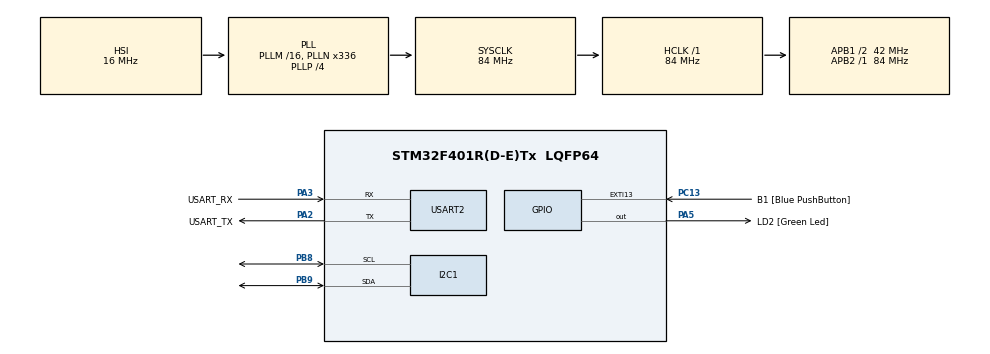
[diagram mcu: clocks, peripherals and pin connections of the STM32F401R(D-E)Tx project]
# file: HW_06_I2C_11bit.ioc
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Mcu.Family=STM32F4
Mcu.Name=STM32F401R(D-E)Tx
Mcu.Package=LQFP64
NVIC.PriorityGroup=NVIC_PRIORITYGROUP_0
NVIC.TIM2_IRQn=true\:0\:0\:false\:false\:true\:true\:true\:true
PA13.GPIO_Label=TMS
PA13.Mode=Serial_Wire
PA13.Signal=SYS_JTMS-SWDIO
PA14.GPIO_Label=TCK
PA14.Mode=Serial_Wire
PA14.Signal=SYS_JTCK-SWCLK
PA2.GPIO_Label=USART_TX
PA2.GPIO_Mode=GPIO_MODE_AF_PP
PA2.GPIO_PuPd=GPIO_NOPULL
PA2.GPIO_Speed=GPIO_SPEED_FREQ_LOW
PA2.Mode=Asynchronous
PA2.Signal=USART2_TX
PA3.GPIO_Label=USART_RX
PA3.GPIO_Mode=GPIO_MODE_AF_PP
PA3.GPIO_PuPd=GPIO_NOPULL
PA3.GPIO_Speed=GPIO_SPEED_FREQ_LOW
PA3.Mode=Asynchronous
PA3.Signal=USART2_RX
PA5.GPIO_Label=LD2 [Green Led]
PA5.GPIO_Mode=GPIO_MODE_OUTPUT_PP
PA5.GPIO_PuPd=GPIO_NOPULL
PA5.GPIO_Speed=GPIO_SPEED_FREQ_LOW
PA5.Signal=GPIO_Output
PB3.GPIO_Label=SWO
PB3.Signal=SYS_JTDO-SWO
PB8.Mode=I2C
PB8.Signal=I2C1_SCL
PB9.Mode=I2C
PB9.Signal=I2C1_SDA
PC13-ANTI_TAMP.GPIO_Label=B1 [Blue PushButton]
PC13-ANTI_TAMP.GPIO_ModeDefaultEXTI=GPIO_MODE_IT_FALLING
PC13-ANTI_TAMP.GPIO_PuPd=GPIO_NOPULL
PC13-ANTI_TAMP.Signal=GPXTI13
PC14-OSC32_IN.Mode=LSE-External-Oscillator
PC14-OSC32_IN.Signal=RCC_OSC32_IN
PC15-OSC32_OUT.Mode=LSE-External-Oscillator
PC15-OSC32_OUT.Signal=RCC_OSC32_OUT
PH0\ -\ OSC_IN.Mode=HSE-External-Clock-Source
PH0\ -\ OSC_IN.Signal=RCC_OSC_IN
PH1\ -\ OSC_OUT.Mode=HSE-External-Clock-Source
PH1\ -\ OSC_OUT.Signal=RCC_OSC_OUT
ProjectManager.HeapSize=0x200
ProjectManager.StackSize=0x400
ProjectManager.TargetToolchain=STM32CubeIDE
RCC.48MHZClocksFreq_Value=48000000
RCC.AHBFreq_Value=84000000
RCC.APB1CLKDivider=RCC_HCLK_DIV2
RCC.APB1Freq_Value=42000000
RCC.APB1TimFreq_Value=84000000
RCC.APB2Freq_Value=84000000
RCC.APB2TimFreq_Value=84000000
RCC.CortexFreq_Value=84000000
RCC.HCLKFreq_Value=84000000
RCC.HSE_VALUE=8000000
RCC.HSI_VALUE=16000000
RCC.PLLN=336
RCC.PLLP=RCC_PLLP_DIV4
RCC.PLLQ=7
RCC.SYSCLKFreq_VALUE=84000000
RCC.SYSCLKSource=RCC_SYSCLKSOURCE_PLLCLK
RCC.VCOOutputFreq_Value=336000000
TIM2.Period=84000-1
TIM2.Prescaler=1000-1
USART2.VirtualMode=VM_ASYNC
VP_TIM2_VS_ClockSourceINT.Mode=Internal
board=NUCLEO-F401RE

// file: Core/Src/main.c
/* USER CODE BEGIN Header */
/**
 ******************************************************************************
 * @file           : main.c
 * @brief          : Main program body
 ******************************************************************************
 * @attention
 *
 * Copyright (c) 2022 STMicroelectronics.
 * All rights reserved.
 *
 * This software is licensed under terms that can be found in the LICENSE file
 * in the root directory of this software component.
 * If no LICENSE file comes with this software, it is provided AS-IS.
 *
 ******************************************************************************
 */
/* USER CODE END Header */
#include "main.h"

/* USER CODE BEGIN Includes */
#include <stdio.h>
/* USER CODE END Includes */

I2C_HandleTypeDef hi2c1;

TIM_HandleTypeDef htim2;

UART_HandleTypeDef huart2;

void SystemClock_Config(void);
static void MX_GPIO_Init(void);
static void MX_USART2_UART_Init(void);
static void MX_I2C1_Init(void);
static void MX_TIM2_Init(void);

/* USER CODE BEGIN 0 */
int flag = 0;
void HAL_TIM_PeriodElapsedCallback(TIM_HandleTypeDef *htim) {
	if (!flag)
		flag = 1; // signals the timer expiration
}
/* USER CODE END 0 */

int main(void) {

	/* MCU Configuration--------------------------------------------------------*/

	/* Reset of all peripherals, Initializes the Flash interface and the Systick. */
	HAL_Init();

	/* Configure the system clock */
	SystemClock_Config();

	/* Initialize all configured peripherals */
	MX_GPIO_Init();
	MX_USART2_UART_Init();
	MX_I2C1_Init();
	MX_TIM2_Init();
	/* USER CODE BEGIN 2 */

	uint16_t lm75_address = 0b10010001; // configuration for reading from temperature sensor
	uint8_t lm75_temperature_register = 0x00; // where temperature register stores data

	uint8_t temp_bytes[2]; // data values (MSB and LSB) stored after reading temperature from sensor

	int length = 0;
	char string[32];

	//initialization of the temperature sensor
	HAL_I2C_Master_Transmit(&hi2c1, lm75_address, &lm75_temperature_register, 1, 10);

	HAL_TIM_Base_Start_IT(&htim2);

	/* USER CODE END 2 */

	/* Infinite loop */
	while (1) {

		/* USER CODE BEGIN 3 */
		// triggers when the timer expires (after 1 second)
		if (flag) {
			// reads 2 bytes (2 values of 8 bits)
			if (HAL_I2C_Master_Receive(&hi2c1, lm75_address, temp_bytes, 2, 20) == HAL_OK) {
				// data reading of MSB and LSB, converted into a 16bit integer value
				int16_t value = (int16_t) ((uint16_t) temp_bytes[0] << 8 | temp_bytes[1]);
				float temp = value / 256.0; // temperature conversion in celsius
				length = snprintf(string, sizeof(string), "Temperature: %.3f °C\r\n", temp);
			} else {
				length = snprintf(string, sizeof(string), "Error reading from LM75B\r\n");
			}

			HAL_UART_Transmit(&huart2, (uint8_t*) string, length, 100); // output on UART interface
			flag = 0;
		}

	}
	/* USER CODE END 3 */
}

void SystemClock_Config(void) {
	RCC_OscInitTypeDef RCC_OscInitStruct = { 0 };
	RCC_ClkInitTypeDef RCC_ClkInitStruct = { 0 };

	/** Configure the main internal regulator output voltage
	 */
	__HAL_RCC_PWR_CLK_ENABLE();
	__HAL_PWR_VOLTAGESCALING_CONFIG(PWR_REGULATOR_VOLTAGE_SCALE2);

	/** Initializes the RCC Oscillators according to the specified parameters
	 * in the RCC_OscInitTypeDef structure.
	 */
	RCC_OscInitStruct.OscillatorType = RCC_OSCILLATORTYPE_HSI;
	RCC_OscInitStruct.HSIState = RCC_HSI_ON;
	RCC_OscInitStruct.HSICalibrationValue = RCC_HSICALIBRATION_DEFAULT;
	RCC_OscInitStruct.PLL.PLLState = RCC_PLL_ON;
	RCC_OscInitStruct.PLL.PLLSource = RCC_PLLSOURCE_HSI;
	RCC_OscInitStruct.PLL.PLLM = 16;
	RCC_OscInitStruct.PLL.PLLN = 336;
	RCC_OscInitStruct.PLL.PLLP = RCC_PLLP_DIV4;
	RCC_OscInitStruct.PLL.PLLQ = 7;
	if (HAL_RCC_OscConfig(&RCC_OscInitStruct) != HAL_OK) {
		Error_Handler();
	}

	/** Initializes the CPU, AHB and APB buses clocks
	 */
	RCC_ClkInitStruct.ClockType = RCC_CLOCKTYPE_HCLK | RCC_CLOCKTYPE_SYSCLK | RCC_CLOCKTYPE_PCLK1 | RCC_CLOCKTYPE_PCLK2;
	RCC_ClkInitStruct.SYSCLKSource = RCC_SYSCLKSOURCE_PLLCLK;
	RCC_ClkInitStruct.AHBCLKDivider = RCC_SYSCLK_DIV1;
	RCC_ClkInitStruct.APB1CLKDivider = RCC_HCLK_DIV2;
	RCC_ClkInitStruct.APB2CLKDivider = RCC_HCLK_DIV1;

	if (HAL_RCC_ClockConfig(&RCC_ClkInitStruct, FLASH_LATENCY_2) != HAL_OK) {
		Error_Handler();
	}
}

static void MX_I2C1_Init(void) {

	hi2c1.Instance = I2C1;
	hi2c1.Init.ClockSpeed = 100000;
	hi2c1.Init.DutyCycle = I2C_DUTYCYCLE_2;
	hi2c1.Init.OwnAddress1 = 0;
	hi2c1.Init.AddressingMode = I2C_ADDRESSINGMODE_7BIT;
	hi2c1.Init.DualAddressMode = I2C_DUALADDRESS_DISABLE;
	hi2c1.Init.OwnAddress2 = 0;
	hi2c1.Init.GeneralCallMode = I2C_GENERALCALL_DISABLE;
	hi2c1.Init.NoStretchMode = I2C_NOSTRETCH_DISABLE;
	if (HAL_I2C_Init(&hi2c1) != HAL_OK) {
		Error_Handler();
	}

}

static void MX_TIM2_Init(void) {

	TIM_ClockConfigTypeDef sClockSourceConfig = { 0 };
	TIM_MasterConfigTypeDef sMasterConfig = { 0 };

	htim2.Instance = TIM2;
	htim2.Init.Prescaler = 1000 - 1;
	htim2.Init.CounterMode = TIM_COUNTERMODE_UP;
	htim2.Init.Period = 84000 - 1;
	htim2.Init.ClockDivision = TIM_CLOCKDIVISION_DIV1;
	htim2.Init.AutoReloadPreload = TIM_AUTORELOAD_PRELOAD_DISABLE;
	if (HAL_TIM_Base_Init(&htim2) != HAL_OK) {
		Error_Handler();
	}
	sClockSourceConfig.ClockSource = TIM_CLOCKSOURCE_INTERNAL;
	if (HAL_TIM_ConfigClockSource(&htim2, &sClockSourceConfig) != HAL_OK) {
		Error_Handler();
	}
	sMasterConfig.MasterOutputTrigger = TIM_TRGO_RESET;
	sMasterConfig.MasterSlaveMode = TIM_MASTERSLAVEMODE_DISABLE;
	if (HAL_TIMEx_MasterConfigSynchronization(&htim2, &sMasterConfig) != HAL_OK) {
		Error_Handler();
	}

}

static void MX_USART2_UART_Init(void) {

	huart2.Instance = USART2;
	huart2.Init.BaudRate = 115200;
	huart2.Init.WordLength = UART_WORDLENGTH_8B;
	huart2.Init.StopBits = UART_STOPBITS_1;
	huart2.Init.Parity = UART_PARITY_NONE;
	huart2.Init.Mode = UART_MODE_TX_RX;
	huart2.Init.HwFlowCtl = UART_HWCONTROL_NONE;
	huart2.Init.OverSampling = UART_OVERSAMPLING_16;
	if (HAL_UART_Init(&huart2) != HAL_OK) {
		Error_Handler();
	}

}

static void MX_GPIO_Init(void) {
	GPIO_InitTypeDef GPIO_InitStruct = { 0 };

	/* GPIO Ports Clock Enable */
	__HAL_RCC_GPIOC_CLK_ENABLE();
	__HAL_RCC_GPIOH_CLK_ENABLE();
	__HAL_RCC_GPIOA_CLK_ENABLE();
	__HAL_RCC_GPIOB_CLK_ENABLE();

	/*Configure GPIO pin Output Level */
	HAL_GPIO_WritePin(LD2_GPIO_Port, LD2_Pin, GPIO_PIN_RESET);

	/*Configure GPIO pin : B1_Pin */
	GPIO_InitStruct.Pin = B1_Pin;
	GPIO_InitStruct.Mode = GPIO_MODE_IT_FALLING;
	GPIO_InitStruct.Pull = GPIO_NOPULL;
	HAL_GPIO_Init(B1_GPIO_Port, &GPIO_InitStruct);

	/*Configure GPIO pin : LD2_Pin */
	GPIO_InitStruct.Pin = LD2_Pin;
	GPIO_InitStruct.Mode = GPIO_MODE_OUTPUT_PP;
	GPIO_InitStruct.Pull = GPIO_NOPULL;
	GPIO_InitStruct.Speed = GPIO_SPEED_FREQ_LOW;
	HAL_GPIO_Init(LD2_GPIO_Port, &GPIO_InitStruct);

}

void Error_Handler(void) {
	__disable_irq();
	while (1) {
	}
}
